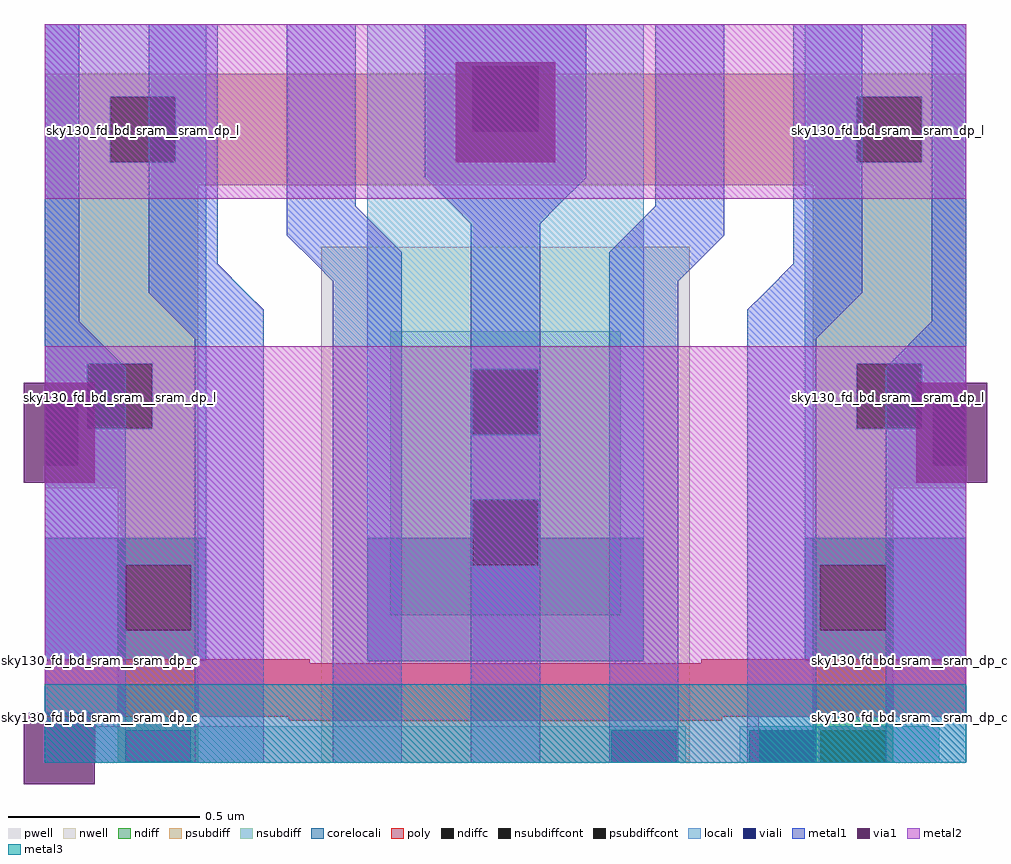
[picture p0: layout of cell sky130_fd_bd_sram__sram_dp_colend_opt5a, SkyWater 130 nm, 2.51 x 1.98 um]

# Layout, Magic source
magic
tech sky130A
magscale 1 2
<< ndiffc >>
rect 42 0 76 17
rect 404 0 438 17
use sky130_fd_bd_sram__sram_dp_colend_opt1a_poly_siz  sky130_fd_bd_sram__sram_dp_colend_opt1a_poly_siz_0
transform 1 0 0 0 1 0
box 0 23 480 54
use sky130_fd_bd_sram__sram_dp_colend_half_met23_optc  sky130_fd_bd_sram__sram_dp_colend_half_met23_optc_0
transform -1 0 480 0 1 0
box 0 0 240 385
use sky130_fd_bd_sram__sram_dp_colend_half_met1_optb  sky130_fd_bd_sram__sram_dp_colend_half_met1_optb_0
transform -1 0 480 0 1 0
box 0 0 240 385
use sky130_fd_bd_sram__sram_dp_colend_half_met23_optb  sky130_fd_bd_sram__sram_dp_colend_half_met23_optb_0
transform 1 0 0 0 1 0
box -11 -11 240 385
use sky130_fd_bd_sram__sram_dp_colend_half_opta  sky130_fd_bd_sram__sram_dp_colend_half_opta_0
transform 1 0 0 0 1 0
box -11 0 251 385
use sky130_fd_bd_sram__sram_dp_colend_half_optb  sky130_fd_bd_sram__sram_dp_colend_half_optb_0
transform -1 0 480 0 1 0
box -11 0 251 385
use sky130_fd_bd_sram__sram_dp_colend_half_met1_opta  sky130_fd_bd_sram__sram_dp_colend_half_met1_opta_0
transform 1 0 0 0 1 0
box 0 0 240 385
<< properties >>
string GDS_FILE sky130_fd_bd_sram__sram_dp_colend_opt5a.gds
string GDS_END 8564
string GDS_START 8006
<< end >>

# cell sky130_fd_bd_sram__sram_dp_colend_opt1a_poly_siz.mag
magic
tech sky130A
magscale 1 2
use sky130_fd_bd_sram__sram_dp_cell_half_poly_siz_optb  sky130_fd_bd_sram__sram_dp_cell_half_poly_siz_optb_0
transform 1 0 0 0 -1 54
box 0 0 1 1
use sky130_fd_bd_sram__sram_dp_cell_half_poly_siz_optb  sky130_fd_bd_sram__sram_dp_cell_half_poly_siz_optb_1
transform -1 0 480 0 -1 54
box 0 0 1 1
use sky130_fd_bd_sram__sram_dp_cell_half_poly_siz_opta  sky130_fd_bd_sram__sram_dp_cell_half_poly_siz_opta_0
transform -1 0 480 0 -1 24
box 0 0 1 1
use sky130_fd_bd_sram__sram_dp_cell_half_poly_siz_opta  sky130_fd_bd_sram__sram_dp_cell_half_poly_siz_opta_1
transform 1 0 0 0 -1 24
box 0 0 1 1
<< properties >>
string GDS_FILE sky130_fd_bd_sram__sram_dp_colend_opt1a_poly_siz.gds
string GDS_END 1122
string GDS_START 774
<< end >>

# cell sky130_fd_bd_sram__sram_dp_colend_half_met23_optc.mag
magic
tech sky130A
magscale 1 2
<< metal2 >>
rect 0 294 240 385
rect 0 24 240 217
rect 108 0 240 24
<< properties >>
string GDS_FILE sky130_fd_bd_sram__sram_dp_colend_half_met23_optc.gds
string GDS_END 338
string GDS_START 190
<< end >>

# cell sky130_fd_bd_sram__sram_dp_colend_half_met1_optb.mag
magic
tech sky130A
magscale 1 2
<< metal1 >>
rect 0 206 18 385
rect 54 245 90 385
rect 126 275 162 385
rect 198 305 240 385
tri 198 290 213 305 ne
rect 213 290 240 305
tri 162 275 177 290 sw
tri 213 281 222 290 ne
tri 126 260 141 275 ne
rect 141 266 177 275
tri 177 266 186 275 sw
rect 141 260 186 266
tri 90 245 105 260 sw
tri 141 251 150 260 ne
tri 54 230 69 245 ne
rect 69 236 105 245
tri 105 236 114 245 sw
rect 69 230 114 236
tri 18 206 42 230 sw
tri 69 221 78 230 ne
rect 0 0 42 206
rect 78 0 114 230
rect 150 0 186 260
rect 222 0 240 290
<< properties >>
string GDS_FILE sky130_fd_bd_sram__sram_dp_colend_half_met1_optb.gds
string GDS_END 542
string GDS_START 186
<< end >>

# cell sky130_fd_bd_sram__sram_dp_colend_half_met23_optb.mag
magic
tech sky130A
magscale 1 2
<< via1 >>
rect -11 -11 26 26
<< metal2 >>
rect 0 294 240 385
rect 0 26 240 217
rect 26 0 240 26
<< properties >>
string GDS_FILE sky130_fd_bd_sram__sram_dp_colend_half_met23_optb.gds
string GDS_END 386
string GDS_START 190
<< end >>

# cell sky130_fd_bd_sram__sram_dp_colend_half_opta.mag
magic
tech sky130A
magscale 1 2
<< nwell >>
rect 144 0 240 269
<< pwell >>
rect 0 301 240 359
rect 0 143 80 301
rect 38 117 80 143
<< ndiff >>
rect 38 103 80 117
rect 38 69 42 103
rect 76 69 80 103
rect 38 0 80 69
<< ndiffc >>
rect 42 69 76 103
<< psubdiff >>
rect 0 347 240 359
rect 0 313 34 347
rect 68 313 240 347
rect 0 301 240 313
rect 0 208 80 301
rect 0 174 22 208
rect 56 174 80 208
rect 0 143 80 174
rect 38 117 80 143
<< nsubdiff >>
rect 180 205 240 225
rect 180 171 223 205
rect 180 137 240 171
rect 180 103 223 137
rect 180 77 240 103
<< psubdiffcont >>
rect 34 313 68 347
rect 22 174 56 208
<< nsubdiffcont >>
rect 223 171 240 205
rect 223 103 240 137
<< locali >>
rect 0 347 84 385
rect 0 313 34 347
rect 68 313 84 347
rect 0 208 84 313
rect 0 189 22 208
rect 17 174 22 189
rect 56 174 84 208
rect 17 155 84 174
rect 0 117 84 155
rect 168 363 240 385
rect 168 329 223 363
rect 168 205 240 329
rect 168 171 223 205
rect 168 137 240 171
rect 168 117 223 137
<< corelocali >>
rect 0 103 84 117
rect 0 69 42 103
rect 76 69 84 103
rect 0 53 84 69
rect 168 103 223 117
rect 168 53 240 103
<< viali >>
rect 0 155 17 189
rect 223 329 240 363
<< via1 >>
rect 214 363 251 365
rect 214 329 223 363
rect 223 329 240 363
rect 240 329 251 363
rect 214 313 251 329
rect -11 189 26 198
rect -11 155 0 189
rect 0 155 17 189
rect 17 155 26 189
rect -11 146 26 155
<< metal3 >>
rect 0 0 240 41
use sky130_fd_bd_sram__sram_dp_licon_1  sky130_fd_bd_sram__sram_dp_licon_1_0
transform 1 0 51 0 1 330
box 0 -1 1 1
use sky130_fd_bd_sram__sram_dp_licon_1  sky130_fd_bd_sram__sram_dp_licon_1_1
transform 1 0 39 0 1 191
box 0 -1 1 1
use sky130_fd_bd_sram__sram_dp_colend_half_limcon_opta  sky130_fd_bd_sram__sram_dp_colend_half_limcon_opta_0
transform 1 0 0 0 1 0
box 14 0 240 19
use sky130_fd_bd_sram__sram_dp_cell_half_wl  sky130_fd_bd_sram__sram_dp_cell_half_wl_0
transform 1 0 0 0 1 24
box 0 -2 240 30
<< properties >>
string GDS_FILE sky130_fd_bd_sram__sram_dp_colend_half_opta.gds
string GDS_END 3042
string GDS_START 832
<< end >>

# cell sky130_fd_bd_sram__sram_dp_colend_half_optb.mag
magic
tech sky130A
magscale 1 2
<< nwell >>
rect 144 0 240 269
<< pwell >>
rect 0 301 240 359
rect 0 143 80 301
rect 38 117 80 143
<< ndiff >>
rect 38 103 80 117
rect 38 69 42 103
rect 76 69 80 103
rect 38 0 80 69
<< ndiffc >>
rect 42 69 76 103
<< psubdiff >>
rect 0 347 240 359
rect 0 313 23 347
rect 57 313 240 347
rect 0 301 240 313
rect 0 208 80 301
rect 0 174 23 208
rect 57 174 80 208
rect 0 143 80 174
rect 38 117 80 143
<< nsubdiff >>
rect 180 205 240 225
rect 180 171 223 205
rect 180 137 240 171
rect 180 103 223 137
rect 180 77 240 103
<< psubdiffcont >>
rect 23 313 57 347
rect 23 174 57 208
<< nsubdiffcont >>
rect 223 171 240 205
rect 223 103 240 137
<< locali >>
rect 0 347 84 385
rect 0 313 23 347
rect 57 313 84 347
rect 0 208 84 313
rect 0 189 23 208
rect 17 174 23 189
rect 57 174 84 208
rect 17 155 84 174
rect 0 117 84 155
rect 168 363 240 385
rect 168 329 223 363
rect 168 205 240 329
rect 168 171 223 205
rect 168 137 240 171
rect 168 117 223 137
<< corelocali >>
rect 0 103 84 117
rect 0 69 42 103
rect 76 69 84 103
rect 0 53 84 69
rect 168 103 223 117
rect 168 53 240 103
<< viali >>
rect 0 155 17 189
rect 223 329 240 363
<< via1 >>
rect 214 363 251 365
rect 214 329 223 363
rect 223 329 240 363
rect 240 329 251 363
rect 214 313 251 329
rect -11 189 26 198
rect -11 155 0 189
rect 0 155 17 189
rect 17 155 26 189
rect -11 146 26 155
<< metal3 >>
rect 0 0 240 41
use sky130_fd_bd_sram__sram_dp_licon_1  sky130_fd_bd_sram__sram_dp_licon_1_0
transform 1 0 40 0 1 191
box 0 -1 1 1
use sky130_fd_bd_sram__sram_dp_licon_1  sky130_fd_bd_sram__sram_dp_licon_1_1
transform 1 0 40 0 1 330
box 0 -1 1 1
use sky130_fd_bd_sram__sram_dp_colend_half_limcon_optb  sky130_fd_bd_sram__sram_dp_colend_half_limcon_optb_0
transform 1 0 0 0 1 0
box 14 0 240 19
use sky130_fd_bd_sram__sram_dp_cell_half_wl  sky130_fd_bd_sram__sram_dp_cell_half_wl_0
transform 1 0 0 0 1 24
box 0 -2 240 30
<< properties >>
string GDS_FILE sky130_fd_bd_sram__sram_dp_colend_half_optb.gds
string GDS_END 3106
string GDS_START 1024
<< end >>

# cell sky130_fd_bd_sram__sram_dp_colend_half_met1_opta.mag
magic
tech sky130A
magscale 1 2
<< metal1 >>
rect 0 206 18 385
rect 54 245 90 385
rect 126 275 162 385
rect 198 305 240 385
tri 198 290 213 305 ne
rect 213 290 240 305
tri 162 275 177 290 sw
tri 213 281 222 290 ne
tri 126 260 141 275 ne
rect 141 266 177 275
tri 177 266 186 275 sw
rect 141 260 186 266
tri 90 245 105 260 sw
tri 141 251 150 260 ne
tri 54 230 69 245 ne
rect 69 236 105 245
tri 105 236 114 245 sw
rect 69 230 114 236
tri 18 206 42 230 sw
tri 69 221 78 230 ne
rect 0 0 42 206
rect 78 0 114 230
rect 150 0 186 260
rect 222 0 240 290
<< properties >>
string GDS_FILE sky130_fd_bd_sram__sram_dp_colend_half_met1_opta.gds
string GDS_END 542
string GDS_START 186
<< end >>

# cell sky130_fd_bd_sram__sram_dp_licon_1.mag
magic
tech sky130A
magscale 1 2
use sky130_fd_bd_sram__sram_dp_licon_05  sky130_fd_bd_sram__sram_dp_licon_05_0
transform 1 0 0 0 -1 0
box 0 0 1 1
use sky130_fd_bd_sram__sram_dp_licon_05  sky130_fd_bd_sram__sram_dp_licon_05_1
transform 1 0 0 0 1 0
box 0 0 1 1
<< properties >>
string GDS_FILE sky130_fd_bd_sram__sram_dp_licon_1.gds
string GDS_END 424
string GDS_START 294
<< end >>

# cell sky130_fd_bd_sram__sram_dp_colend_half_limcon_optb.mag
magic
tech sky130A
magscale 1 2
<< locali >>
rect 14 17 118 19
rect 14 0 79 17
rect 113 0 118 17
rect 146 17 240 19
rect 146 0 151 17
rect 185 0 240 17
<< viali >>
rect 79 0 113 17
rect 151 0 185 17
<< properties >>
string GDS_FILE sky130_fd_bd_sram__sram_dp_colend_half_limcon_optb.gds
string GDS_END 450
string GDS_START 190
<< end >>

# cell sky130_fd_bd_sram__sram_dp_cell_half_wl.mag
magic
tech sky130A
magscale 1 2
<< poly >>
rect 0 28 138 30
rect 0 0 240 28
rect 127 -2 240 0
<< properties >>
string GDS_FILE sky130_fd_bd_sram__sram_dp_cell_half_wl.gds
string GDS_END 270
string GDS_START 170
<< end >>

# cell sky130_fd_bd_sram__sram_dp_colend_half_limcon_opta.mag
magic
tech sky130A
magscale 1 2
<< locali >>
rect 14 0 240 19
<< properties >>
string GDS_FILE sky130_fd_bd_sram__sram_dp_colend_half_limcon_opta.gds
string GDS_END 258
string GDS_START 190
<< end >>
